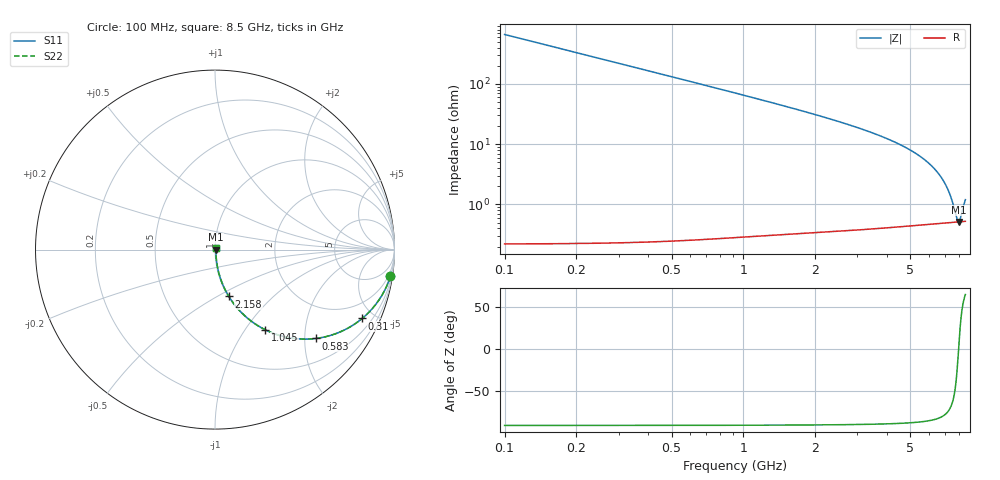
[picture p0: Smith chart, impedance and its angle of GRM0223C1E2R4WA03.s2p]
!Murata Part Number: GRM0223C1E2R4WA03
!These Parameters are Measured in Series Mode Connection
!Data Generated on Mar 30, 2021
!  o--ll--o
!Port1  Port2
!  o------o
!Operation Temp=25[degC], DC Bias Voltage=0[V]
!Freq. Start=100[MHz] Stop=9[GHz] 401[Steps]
# Hz S RI R 50
!Freq.(Hz) S11(Real) S11(Imag) S21(Real) S21(Imag) S12(Real) S12(Imag) S22(Real) S22(Imag)
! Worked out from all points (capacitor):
!   401 points, 100 MHz to 8.5 GHz, reference 50 ohm
!   read as one part in series: C = 2.4 pF near 142 MHz
!   lowest |Z| = 514 mohm at 7.954 GHz (marker M1)
!   series resonance near 7.961 GHz, so ESL is about 170 pH
!   S11 on the Smith chart (normalised r, x): 100 MHz: 1, -13; 310 MHz: 1.00, -4.27; 583 MHz: 1.01, -2.26; 1.045 GHz: 1.01, -1.25; 2.158 GHz: 1.01, -0.57; 8.5 GHz: 1.01, +0.02
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1e8  0.9777 -0.1475  0.0223 0.1475  0.0223 0.1475  0.9777 -0.1475
2.05e8  0.9125 -0.2822  0.0875 0.2822  0.0875 0.2822  0.9125 -0.2822
3.1e8  0.8199 -0.3837  0.1801 0.3837  0.1801 0.3837  0.8199 -0.3837
4.36e8  0.6965 -0.459  0.3035 0.459  0.3035 0.459  0.6965 -0.459
5.83e8  0.561 -0.4952  0.439 0.4952  0.439 0.4952  0.561 -0.4952
8.14e8  0.3938 -0.4869  0.6062 0.4869  0.6062 0.4869  0.3938 -0.4869
1.045e9  0.2804 -0.4469  0.7196 0.4469  0.7196 0.4469  0.2804 -0.4469
1.255e9  0.2106 -0.4048  0.7894 0.4048  0.7894 0.4048  0.2106 -0.4048
1.507e9  0.1539 -0.3571  0.8461 0.3571  0.8461 0.3571  0.1539 -0.3571
2.158e9  0.0773 -0.261  0.9227 0.261  0.9227 0.261  0.0773 -0.261
2.914e9  0.0404 -0.1876  0.9596 0.1876  0.9596 0.1876  0.0404 -0.1876
4.3e9  0.0157 -0.1064  0.9843 0.1064  0.9843 0.1064  0.0157 -0.1064
5.707e9  0.00766 -0.0553  0.9923 0.0553  0.9923 0.0553  0.00766 -0.0553
6.526e9  0.00586 -0.0326  0.9941 0.0326  0.9941 0.0326  0.00586 -0.0326
6.841e9  0.00548 -0.0248  0.9945 0.0248  0.9945 0.0248  0.00548 -0.0248
7.114e9  0.00527 -0.0184  0.9947 0.0184  0.9947 0.0184  0.00527 -0.0184
7.45e9  0.00512 -0.0108  0.9949 0.0108  0.9949 0.0108  0.00512 -0.0108
7.849e9  0.00509 -0.0023  0.9949 0.0023  0.9949 0.0023  0.00509 -0.0023
7.954e9  0.00511 -0.000139  0.9949 0.000139  0.9949 0.000139  0.00511 -0.000139
8.08e9  0.00514 0.00242  0.9949 -0.00242  0.9949 -0.00242  0.00514 0.00242
8.374e9  0.00526 0.00824  0.9947 -0.00824  0.9947 -0.00824  0.00526 0.00824
8.5e9  0.00533 0.0107  0.9947 -0.0107  0.9947 -0.0107  0.00533 0.0107
